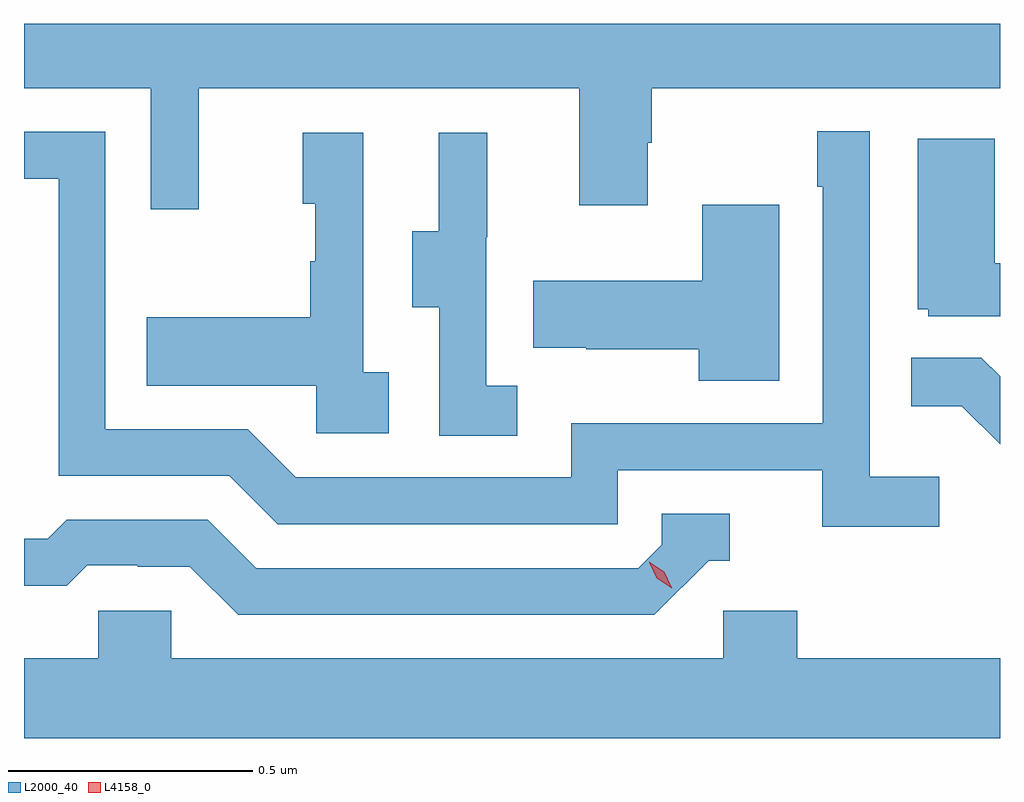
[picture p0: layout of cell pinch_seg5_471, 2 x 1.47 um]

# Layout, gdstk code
import gdstk
lib = gdstk.Library(unit=1e-6, precision=1e-09)
def P(c, l, *ps):  # polygons
    for p in ps: c.add(gdstk.Polygon(p, *l))
L2000_40 = (2000, 40)
L4158_0 = (4158, 0)

pinch_seg5_471 = lib.new_cell('pinch_seg5_471')
P(pinch_seg5_471, L2000_40, [(912.455,856.76),(913.235,856.76),(913.235,856.521),(913.375,856.521),(913.375,856.649),(913.383,856.649),(913.383,856.76),(914.097,856.76),(914.097,856.893),(912.097,856.893),(912.097,856.76),(912.357,856.76),(912.357,856.512),(912.455,856.512)],
  [(913.972,855.964),(913.83,855.964),(913.83,856.672),(913.722,856.672),(913.722,856.559),(913.734,856.559),(913.734,856.074),(913.218,856.074),(913.218,855.963),(912.654,855.963),(912.555,856.062),(912.264,856.062),(912.264,856.671),(912.097,856.671),(912.097,856.575),(912.168,856.575),(912.168,855.966),(912.518,855.966),(912.617,855.867),(913.314,855.867),(913.314,855.978),(913.733,855.978),(913.733,855.862),(913.972,855.862)],
  [(912.844,856.178),(912.792,856.178),(912.792,856.669),(912.668,856.669),(912.668,856.524),(912.694,856.524),(912.694,856.406),(912.684,856.406),(912.684,856.291),(912.349,856.291),(912.349,856.151),(912.696,856.151),(912.696,856.053),(912.844,856.053)],
  [(913.108,856.151),(913.044,856.151),(913.044,856.455),(913.046,856.455),(913.046,856.669),(912.947,856.669),(912.947,856.467),(912.893,856.467),(912.893,856.312),(912.948,856.312),(912.948,856.048),(913.108,856.048)],
  [(914.097,856.402),(914.086,856.402),(914.086,856.657),(913.928,856.657),(913.928,856.308),(913.95,856.308),(913.95,856.293),(914.097,856.293)],
  [(913.645,856.522),(913.487,856.522),(913.487,856.366),(913.141,856.366),(913.141,856.229),(913.249,856.229),(913.249,856.226),(913.48,856.226),(913.48,856.161),(913.645,856.161)],
  [(914.097,856.17),(914.059,856.208),(913.915,856.208),(913.915,856.109),(914.019,856.109),(914.097,856.031)],
  [(913.5,855.792),(913.543,855.792),(913.543,855.888),(913.404,855.888),(913.404,855.825),(913.356,855.777),(912.573,855.777),(912.474,855.876),(912.185,855.876),(912.146,855.837),(912.097,855.837),(912.097,855.741),(912.185,855.741),(912.227,855.783),(912.33,855.783),(912.33,855.78),(912.437,855.78),(912.536,855.681),(913.389,855.681)],
  [(914.097,855.592),(913.682,855.592),(913.682,855.69),(913.53,855.69),(913.53,855.592),(912.399,855.592),(912.399,855.69),(912.249,855.69),(912.249,855.592),(912.097,855.592),(912.097,855.428),(914.097,855.428)])
P(pinch_seg5_471, L4158_0, [(913.424,855.736),(913.394,855.756),(913.378,855.789),(913.378,855.79),(913.378,855.79),(913.409,855.77),(913.424,855.737),(913.424,855.736)])

lib.write_gds('pinch_seg5_471.gds')
